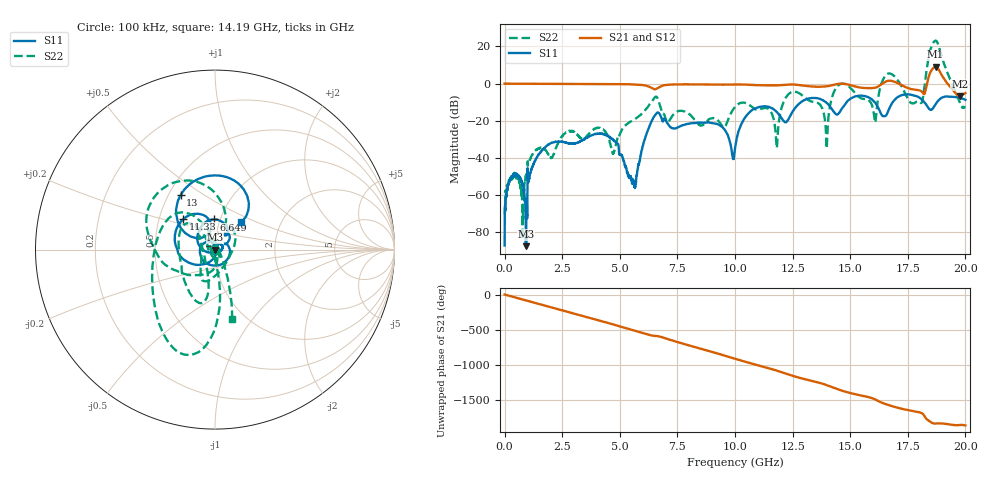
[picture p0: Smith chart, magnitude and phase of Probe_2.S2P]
# Hz S RI R 50.00
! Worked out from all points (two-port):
!   5000 points, 100 kHz to 20 GHz, reference 50 ohm
!   highest |S21| = 9.08 dB at 18.7 GHz (marker M1); lowest = -6.8 dB at 19.75 GHz (marker M2)
!   |S21| within 3 dB of the highest: 18.48 GHz to 18.91 GHz (427.8 MHz wide, 2.29 % of centre)
!   lowest |S11| = -87.4 dB at 924.3 MHz (marker M3), VSWR 1.00, Z = 50 - j0.000346 ohm
!   |S11| at or under -10 dB: start of sweep to 12.86 GHz; 13.95 GHz to 14.84 GHz (890.1 MHz wide, 6.18 % of centre); 16.07 GHz to 16.84 GHz (778.3 MHz wide, 4.73 % of centre)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
!   |S22| runs from -83.8 to 23.2 dB; largest |S21 - S12| = 0
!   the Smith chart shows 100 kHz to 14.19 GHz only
!   S11 on the Smith chart (normalised r, x): 100 kHz: 1.00, -0.00; 6.649 GHz: 0.93, +0.32; 11.33 GHz: 0.67, +0.24; 13 GHz: 0.58, +0.40; 14.19 GHz: 1.27, +0.41
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100000  1.48e-05 -4.18e-05  0.9999 -0.000103  0.9999 -0.000103  0.000313 -2.42e-05
9.242802e8  -4.25e-05 -3.46e-06  0.1164 -0.987  0.1164 -0.987  -0.00263 0.00182
3.336751e9  0.0121 0.0264  0.5025 0.8426  0.5025 0.8426  -0.0237 -0.0236
4.945064e9  0.0138 -0.0165  0.05 -0.969  0.05 -0.969  0.0125 -0.0411
6.649397e9  -0.00653 0.1681  -0.4582 0.6112  -0.4582 0.6112  -0.102 0.378
6.669401e9  0.0119 0.1666  -0.4499 0.6295  -0.4499 0.6295  -0.054 0.3582
8.005661e9  0.0824 -0.0154  0.9562 -0.0851  0.9562 -0.0851  -0.0798 -0.1303
1.000205e10  0.00799 -0.0162  -0.9153 0.2497  -0.9153 0.2497  -0.0372 -0.2347
1.133431e10  -0.1757 0.1701  0.6502 0.6204  0.6502 0.6204  -0.178 0.1328
1.299863e10  -0.1915 0.3036  -0.4768 -0.7389  -0.4768 -0.7389  -0.3416 -0.2777
1.33347e10  -0.0459 0.4082  -0.7244 -0.4224  -0.7244 -0.4224  -0.3266 0.0439
1.419487e10  0.1461 0.1529  -0.4971 0.7498  -0.4971 0.7498  0.0958 -0.3842
1.59032e10  0.3785 0.1074  0.6493 -0.393  0.6493 -0.393  -0.2026 0.2222
1.666735e10  0.0766 0.1786  -0.8448 -0.85  -0.8448 -0.85  -0.2949 -1.855
1.819565e10  0.3045 -0.1267  0.0632 0.5216  0.0632 0.5216  -0.5572 -0.2817
1.839169e10  0.2112 -0.0726  1.403 0.1678  1.403 0.1678  -4.286 -1.572
1.860773e10  0.2201 0.0434  2.159 -1.484  2.159 -1.484  -11.97 4.076
1.870375e10  0.2697 0.0756  2.24 -1.751  2.24 -1.751  -14.3 2.435
1.887178e10  0.3723 0.059  1.826 -1.247  1.826 -1.247  -8.085 -3.6
1.909182e10  0.4421 -0.0555  0.9906 -0.8192  0.9906 -0.8192  -2.361 -2.129
1.975195e10  0.3067 -0.2801  0.2416 -0.3893  0.2416 -0.3893  -0.315 -0.0423
2e10  0.2121 -0.3013  0.2376 -0.5014  0.2376 -0.5014  -0.0534 0.2191
